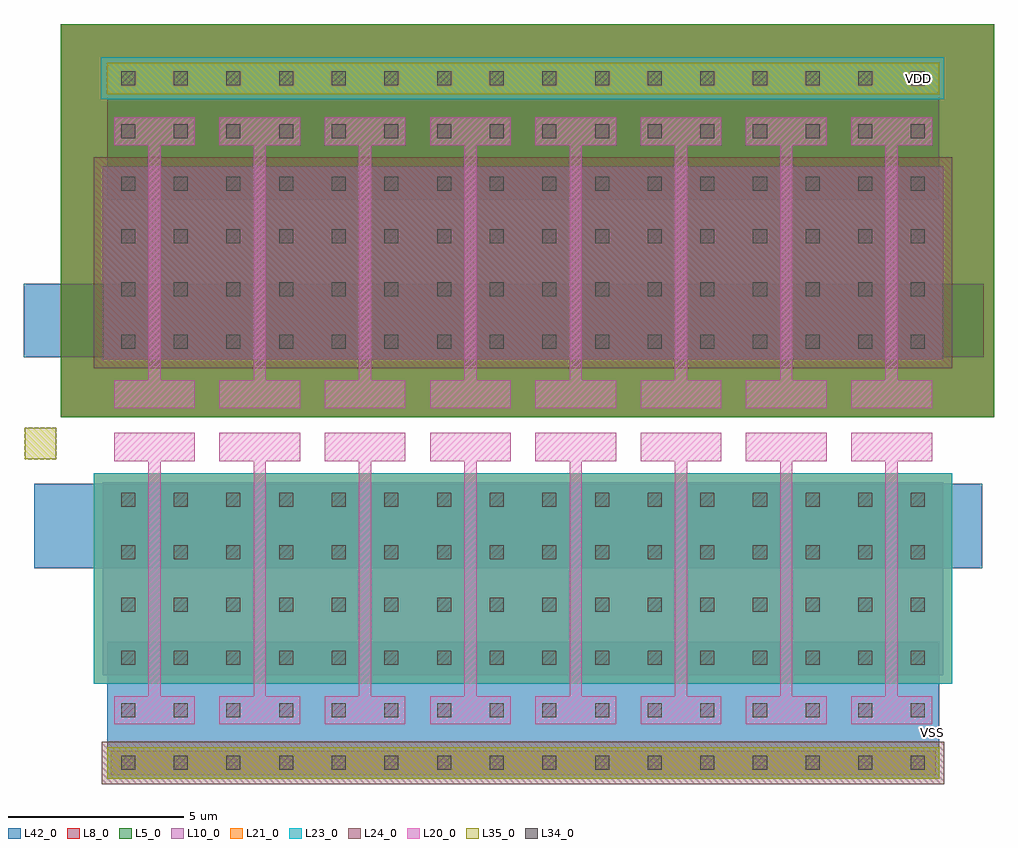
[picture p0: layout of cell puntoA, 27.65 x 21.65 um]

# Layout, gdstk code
import gdstk
lib = gdstk.Library(unit=1e-6, precision=1e-09)
def R(c, l, rs):  # rectangles x0, y0, x1, y1
    for r in rs: c.add(gdstk.rectangle(r[:2], r[2:], *l))
def A(c, l, x, y, w, h, nx, ny, dx, dy):  # array of equal rectangles
    R(c, l, [(x+i*dx, y+j*dy, x+i*dx+w, y+j*dy+h) for i in range(nx) for j in range(ny)])
L5_0 = (5, 0)
L8_0 = (8, 0)
L10_0 = (10, 0)
L20_0 = (20, 0)
L21_0 = (21, 0)
L23_0 = (23, 0)
L24_0 = (24, 0)
L34_0 = (34, 0)
L35_0 = (35, 0)
L42_0 = (42, 0)

puntoa = lib.new_cell('puntoA')
R(puntoa, L5_0, [(-6.825,-5.35,19.775,5.85)])
R(puntoa, L8_0, [(-6.825,-5.35,19.775,5.85)])
R(puntoa, L10_0, [(-5.4,-15.55,18.1,-14.85), (-5.625,-12.7,18.325,-7.2), (-5.625,-3.7,18.325,1.8), (-5.425,3.95,18.1,4.65)])
A(puntoa, L20_0, -5.3, -14.1, 2.3, 0.8, 8, 2, 3, 7.5)
A(puntoa, L20_0, -4.325, -13.3, 0.35, 6.7, 8, 2, 3, 9)
A(puntoa, L20_0, -5.3, -5.1, 2.3, 0.8, 8, 2, 3, 7.5)
R(puntoa, L21_0, [(-5.875,-12.95,18.575,-6.95), (-5.675,3.7,18.35,4.9)])
R(puntoa, L23_0, [(-5.875,-12.95,18.575,-6.95), (-5.675,3.7,18.35,4.9)])
R(puntoa, L24_0, [(-5.65,-15.8,18.35,-14.6), (-5.875,-3.95,18.575,2.05)])
A(puntoa, L34_0, -5.1, -15.4, 0.4, 0.4, 16, 6, 1.5, 1.5)
A(puntoa, L34_0, -5.1, -3.4, 0.4, 0.4, 16, 6, 1.5, 1.5)
R(puntoa, L35_0, [(-5.5,-15.65,18.2,-14.75), (-3.85,-15.55,18.1,-14.85), (-7.85,-6.55,-6.95,-5.65), (-5.5,3.85,18.2,4.75)])
R(puntoa, L42_0, [(-5.5,-15.65,18.2,-11.75), (8.15,-12.65,9.05,-11.75), (9.65,-12.65,10.55,-11.75), (-7.575,-9.65,19.425,-7.25), (-7.875,-3.65,19.475,-1.55), (-5.5,0.85,18.2,4.75)])
puntoa.add(gdstk.Label('VDD', (17.625,4.3), layer=625, texttype=0))
puntoa.add(gdstk.Label('VSS', (18,-14.325), layer=625, texttype=0))

lib.write_gds('puntoA.gds')
